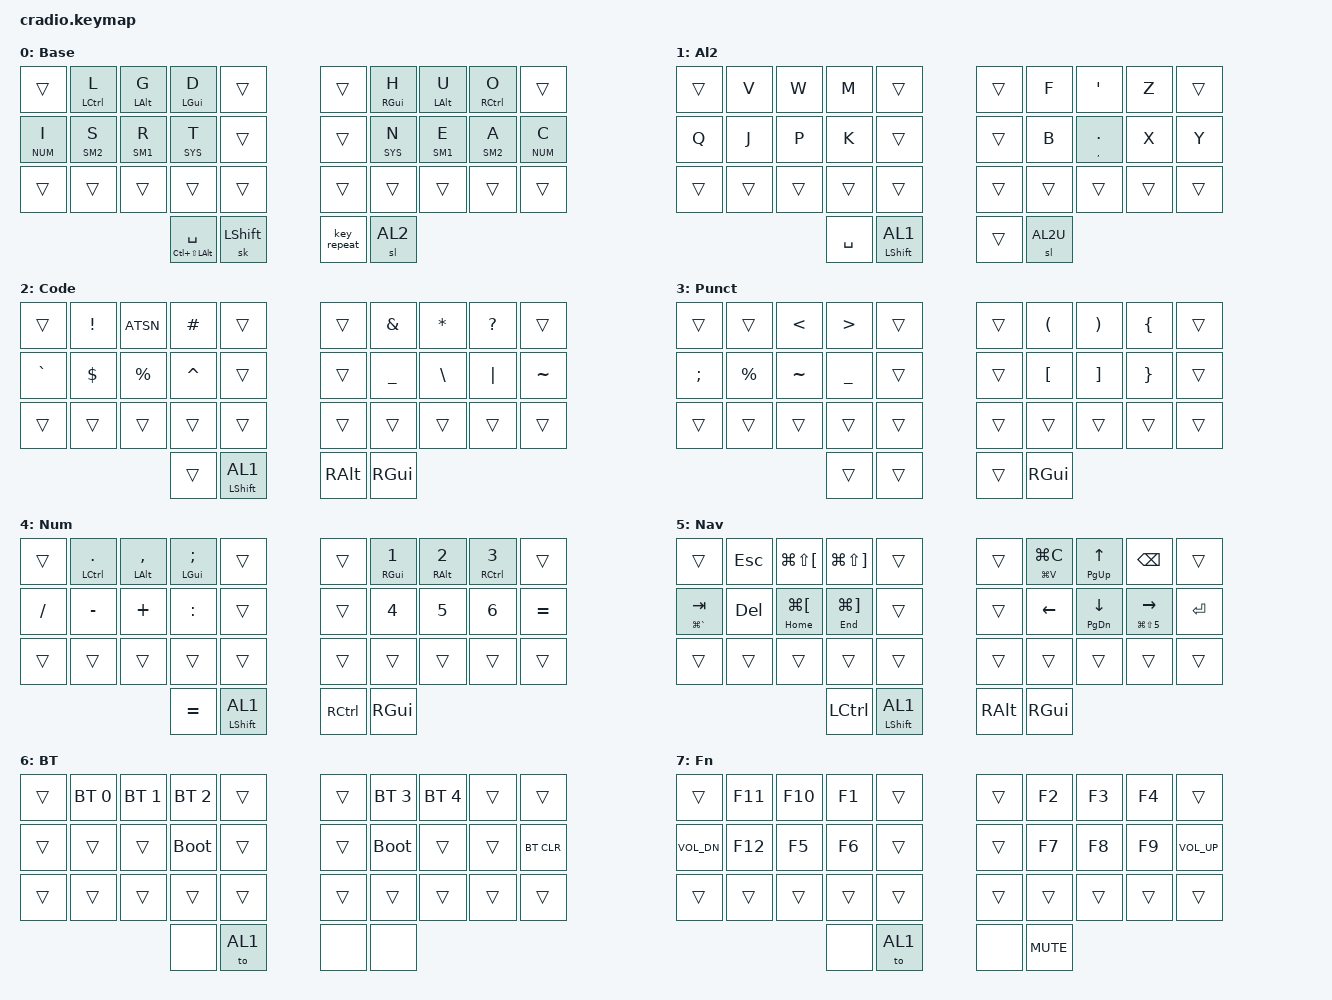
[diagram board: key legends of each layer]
/*
 * Copyright (c) 2020 The ZMK Contributors
 *
 * SPDX-License-Identifier: MIT
 */

#include <behaviors.dtsi>
#include <dt-bindings/zmk/keys.h>
#include <dt-bindings/zmk/bt.h>
#include <dt-bindings/zmk/mouse.h>

&mt {
    tapping-term-ms = <201>;
    flavor = "tap-preferred";
 };
&sk {
     release-after-ms = <2000>;
     quick-release;
 };
 
/* Layers */
#define AL1 0
#define AL2 1
#define SM1 2
#define SM2 3
#define NUM 4
#define SYS 5
#define BT 6
#define FUN 7
#define AL2U 8
/ { 
    combos {
        compatible = "zmk,combos";
        combo_sys {
            timeout-ms = <30>;
            key-positions = <6 7 8>;
            bindings = <&to SYS>;
        };
        combo_caps {
            timeout-ms = <30>;
            key-positions = <16 17 18>;
            bindings = <&caps_word>;
        };
        combo_num {
            timeout-ms = <30>;
            key-positions = <1 2 3>;
            bindings = <&to NUM>;
        };
        combo_bt  {
            timeout-ms = <10>;
            key-positions = <17 18>;
            bindings = <&to BT>;
            layers = <SM1>;
        };
        combo_fun  {
            timeout-ms = <10>;
            key-positions = <11 12>;
            bindings = <&to FUN>;
            layers = <AL1>;
        };

        lclk {
			timeout-ms = <20>;
			key-positions = <16 17>;
			bindings = <&mkp LCLK>;
			layers = <SYS>;
		};
		rclk {
			timeout-ms = <20>;
			key-positions = <6 7>;
			bindings = <&mkp RCLK>;
			layers = <SYS>;
		};
		bksp {
			timeout-ms = <50>;
			key-positions = <7 8>;
			bindings = <&kp BKSP>;
			layers = <AL1 AL2 AL2U>;
		};
		ret {
			timeout-ms = <50>;
			key-positions = <17 18>;
			bindings = <&kp RET>;
			layers = <AL1 AL2 AL2U>;
		};
		tab {
			timeout-ms = <50>;
			key-positions = <11 12>;
			bindings = <&kp TAB>;
			layers = <AL1 AL2 AL2U>;
		};
		esc {
			timeout-ms = <50>;
			key-positions = <1 2>;
			bindings = <&kp ESC>;
			layers = <AL1 AL2 AL2U>;
		};
		number_8 {
			timeout-ms = <200>;
			key-positions = <7 8>;
			bindings = <&kp N8>;
			layers = <NUM>;
		};
		number_0 {
			timeout-ms = <200>;
			key-positions = <17 18>;
			bindings = <&kp N0>;
			layers = <NUM>;
		};
        number_7 {
			timeout-ms = <200>;
			key-positions = <6 7>;
			bindings = <&kp N7>;
			layers = <NUM>;
		};
		number_9 {
			timeout-ms = <200>;
			key-positions = <16 17>;
			bindings = <&kp N9>;
			layers = <NUM>;
		};

    };

    behaviors {
        hm_l: homerow_mods_left {
            compatible = "zmk,behavior-hold-tap";
            label = "HOMEROW_MODS_L";
            #binding-cells = <2>;
            tapping-term-ms = <300>;
            quick-tap-ms = <250>;
            flavor = "tap-preferred";
            bindings = <&kp>, <&kp>;
        //     hold-trigger-key-positions = <3 4 5 10 11 12 13 14>; // right hand
            hold-trigger-key-positions = <6 7 8 16 17 18 19 30>; // right hand
        };
        hm_r: homerow_mods_right {
            compatible = "zmk,behavior-hold-tap";
            label = "HOMEROW_MODS_R";
            #binding-cells = <2>;
            tapping-term-ms = <300>;
            quick-tap-ms = <250>;
            flavor = "tap-preferred";
            bindings = <&kp>, <&kp>;
        // hold-trigger-key-positions = <0 1 2 6 7 8 9>; // left hand
            hold-trigger-key-positions = < 1 2 3 10 11 12 13>; // left hand
        };
        sr: shift_layer {
            compatible = "zmk,behavior-hold-tap";
            label = "SHIFT_LAYER";
            #binding-cells = <2>;
            tapping-term-ms = <300>;
            quick_tap_ms = <0>;
            flavor = "tap-preferred";
            bindings = <&kp>, <&to>;
        retro-tap;
        };
        hl_l: homerow_layers_left {
            compatible = "zmk,behavior-hold-tap";
            label = "HOMEROW_LAYERS_L";
            #binding-cells = <2>;
            tapping-term-ms = <220>;
            quick-tap-ms = <250>;
            flavor = "tap-preferred";
            bindings = <&mo>, <&kp>;
        // hold-trigger-key-positions = <3 4 5 10 11 12 13 14>; // right hand
            hold-trigger-key-positions = <6 7 8 16 17 18 19 30>; // right hand
        };
        hl_r: homerow_layers_right {
            compatible = "zmk,behavior-hold-tap";
            label = "HOMEROW_LAYERS_R";
            #binding-cells = <2>;
            tapping-term-ms = <220>;
            quick-tap-ms = <250>;
            flavor = "tap-preferred";
            bindings = <&mo>, <&kp>;
        // hold-trigger-key-positions = <0 1 2 6 7 8 9>; // left hand
            hold-trigger-key-positions = < 1 2 3 10 11 12 13>; // left hand
        };
    td: tapdance {
            compatible = "zmk,behavior-hold-tap";
            label = "TAPDANCE";
            #binding-cells = <2>;
            tapping-term-ms = <190>;
            quick-tap-ms = <250>;
            flavor = "tap-preferred";
            bindings = <&kp>, <&kp>;
        };
   	alpha2macro: behavior_macro_1 {
			compatible = "zmk,behavior-macro";
			label = "MACRO1";
			#binding-cells = <0>;
			bindings = < &sl AL2 >;
		};
	caps_alpha2macro: behavior_macro_2 {
			compatible = "zmk,behavior-macro";
			label = "MACRO2";
			#binding-cells = <0>;
			bindings = < &sl AL2U >;
		};
  };

//                  0       1       2                   3       4           5
//          6       7       8       9                   10      11          12          13
//                          14      15                  16      17

//                  0       1       2      3     4	    	5	6	7	8	9
//          	   10      11       12     13	14		15	16	17	18	19
//                 20	   21	    22	   23	24              25	26	27	28	29
//                  					   30	31		32	33
       keymap {
                compatible = "zmk,keymap";
                
                alpha1 {
                label = "Base";
        bindings = <
            &trans     &hm_l LCTL L    &hm_l LALT G    &hm_l LGUI D	&trans          &trans &hm_r RGUI H    &hm_r LALT U        &hm_r RCTL O	&trans
            &hl_l NUM I     &hl_l SM2 S     &hl_l SM1 R     &hl_l SYS T	&trans		&trans	&hl_r SYS N     &hl_r SM1 E         &hl_r SM2 A     &hl_r NUM C
	    &trans	&trans	&trans	&trans	&trans                			&trans	&trans	&trans	&trans	&trans 
                                             &mt LC(LS(LALT)) SPC        &sk LSHIFT                  &key_repeat  &sl AL2
        >;
        };
                alpha2 {
                label = "Al2";
        bindings = <
              &trans      &kp V       &kp W               &kp M &trans            &trans  &kp F       &kp SQT         &kp Z	&trans 
        &kp Q       &kp J       &kp P               &kp K &trans            &trans  &kp B       &td COMMA DOT    &kp X       &kp Y
	    &trans	&trans	&trans	&trans	&trans                			&trans	&trans	&trans	&trans	&trans 
                                &kp SPC             &sr LSHIFT AL1      &trans      &sl AL2U
        >;
        };

                sym1 {
                label = "Code";
        bindings = <
                  &trans  &kp EXCL	&kp ATSN	&kp HASH &trans                    &trans  &kp AMPS		&kp STAR		&kp QMARK &trans
        &kp GRAVE	&kp DLLR	&kp PRCNT	&kp CARET &trans                   &trans  &kp UNDER		&kp BSLH		&kp PIPE &kp TILDE
	    &trans	&trans	&trans	&trans	&trans                			&trans	&trans	&trans	&trans	&trans 
                                &trans      &sr LSHIFT AL1                 &kp RALT        &kp RGUI
        >;
        };
        sym2 {
        label = "Punct";
        bindings = <
                 &trans   &trans &kp LT	&kp GT &trans             &trans  &kp LPAR	&kp RPAR    &kp LBRC	&trans	
        &kp SEMI    &kp PRCNT   &kp TILDE	&kp UNDER &trans          &trans  &kp LBKT	&kp RBKT	&kp RBRC    &trans
	    &trans	&trans	&trans	&trans	&trans                			&trans	&trans	&trans	&trans	&trans 
                                &trans          &trans            &trans    &kp RGUI

        >;
        };

        num {
        label = "Num";
        bindings = <
                        &trans  &hm_l LCTL DOT	&hm_l LALT COMMA	&hm_l LGUI SEMI &trans    &trans  &hm_r RGUI N1	&hm_r RALT N2	&hm_r RCTL N3	&trans
        &kp SLASH	&kp MINUS		&kp PLUS			&kp COLON &trans           &trans  &kp N4			&kp N5			&kp N6		&kp EQUAL
	    &trans	&trans	&trans	&trans	&trans                			&trans	&trans	&trans	&trans	&trans 
                                              &kp EQUAL          &sr LSHIFT AL1      &kp RCTL        &kp RGUI
        >;
        };

        sys {
        label = "Nav";
        bindings = <
                          &trans  &kp ESC        &kp LG(LS(LBKT))    &kp LG(LS(RBKT)) &trans      &trans  &td LG(V) LG(C)     &td PG_UP UP    &kp BKSP	&trans
        &td LG(GRAVE) TAB   &kp DEL        &td HOME LG(LBKT)   &td END LG(RBKT) &trans      &trans  &kp LEFT            &td PG_DN DOWN  &td  LG(LS(N5)) RIGHT   &kp RET
	    &trans	&trans	&trans	&trans	&trans                			&trans	&trans	&trans	&trans	&trans 
                                           &kp LCTL            &sr LSHIFT AL1           &kp RALT            &kp RGUI
        >;
        };

        bt {
        label = "BT";
        bindings = <
                &trans  &bt BT_SEL 0    &bt BT_SEL 1  &bt BT_SEL 2 &trans         &trans &bt BT_SEL 3     &bt BT_SEL 4   &trans	&trans	
        &trans    &trans          &trans        &bootloader &trans         &trans  &bootloader      &trans         &trans &bt BT_CLR
	    &trans	&trans	&trans	&trans	&trans                			&trans	&trans	&trans	&trans	&trans 
                                  &none         &to AL1                &none     &none
        >;
        };
        fun {
        label = "Fn";
            bindings = <
                   &trans  &kp F11   &kp F10   &kp F1 &trans        &trans  &kp F2   &kp F3   &kp F4	&trans	
     &kp C_VOL_DN    &kp F12   &kp F5    &kp F6 &trans        &trans  &kp F7   &kp F8   &kp F9  &kp C_VOL_UP
	    &trans	&trans	&trans	&trans	&trans                			&trans	&trans	&trans	&trans	&trans 
                               &none     &to AL1          &none    &kp C_MUTE
                >;
        };
    };
};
